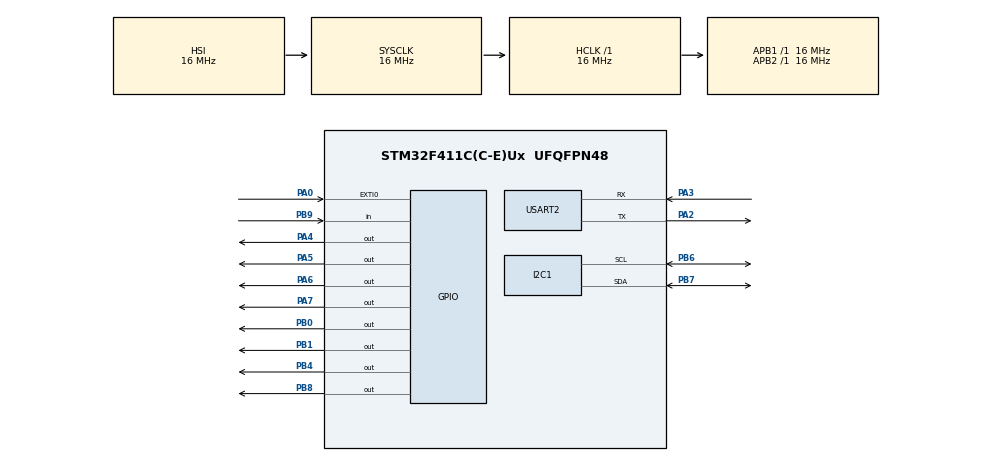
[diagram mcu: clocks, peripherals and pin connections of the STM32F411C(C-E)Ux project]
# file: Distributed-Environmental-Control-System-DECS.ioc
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IWDG.Prescaler=IWDG_PRESCALER_128
Mcu.Family=STM32F4
Mcu.Name=STM32F411C(C-E)Ux
Mcu.Package=UFQFPN48
NVIC.PriorityGroup=NVIC_PRIORITYGROUP_4
NVIC.USART2_IRQn=true\:0\:0\:false\:false\:true\:true\:true\:true
PA0-WKUP.Signal=GPXTI0
PA2.Mode=Asynchronous
PA2.Signal=USART2_TX
PA3.Mode=Asynchronous
PA3.Signal=USART2_RX
PA4.Signal=GPIO_Output
PA5.Signal=GPIO_Output
PA6.Signal=GPIO_Output
PA7.Signal=GPIO_Output
PB0.Signal=GPIO_Output
PB1.Signal=GPIO_Output
PB4.Signal=GPIO_Output
PB6.GPIO_Mode=GPIO_MODE_AF_OD
PB6.GPIO_Pu=GPIO_PULLUP
PB6.Mode=I2C
PB6.Signal=I2C1_SCL
PB7.GPIO_Pu=GPIO_PULLUP
PB7.Mode=I2C
PB7.Signal=I2C1_SDA
PB8.GPIO_Speed=GPIO_SPEED_FREQ_HIGH
PB8.Signal=GPIO_Output
PB9.Signal=GPIO_Input
ProjectManager.HeapSize=0x200
ProjectManager.StackSize=0x400
ProjectManager.TargetToolchain=STM32CubeIDE
RCC.AHBFreq_Value=16000000
RCC.APB1Freq_Value=16000000
RCC.APB2Freq_Value=16000000
RCC.CortexFreq_Value=16000000
RCC.HSE_VALUE=25000000
RCC.HSI_VALUE=16000000
RCC.LSE_VALUE=32768
RCC.SYSCLKFreq_VALUE=16000000
RCC.VCOOutputFreq_Value=192000000
USART2.VirtualMode=VM_ASYNC
VP_IWDG_VS_IWDG.Mode=IWDG_Activate
board=custom

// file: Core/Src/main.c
/* USER CODE BEGIN Header */
/**
  ******************************************************************************
  * @file           : main.c
  * @brief          : Main program body
  ******************************************************************************
  * @attention
  *
  * Copyright (c) 2025 STMicroelectronics.
  * All rights reserved.
  *
  * This software is licensed under terms that can be found in the LICENSE file
  * in the root directory of this software component.
  * If no LICENSE file comes with this software, it is provided AS-IS.
  *
  ******************************************************************************
  */
/* USER CODE END Header */
#include "main.h"
/* USER CODE BEGIN Includes */
#include "ssd1306.h"
#include "keypad.h"
#include "menu.h"
#include "node_controller.h"
#include "plant_profiles.h"
#include "uart_comm.h"
/* USER CODE END Includes */

I2C_HandleTypeDef hi2c1;

IWDG_HandleTypeDef hiwdg;

UART_HandleTypeDef huart2;

/* USER CODE BEGIN PV */

volatile uint32_t stack_canary = 0xDEADBEEF;

/* USER CODE END PV */

void SystemClock_Config(void);
static void MX_GPIO_Init(void);
static void MX_USART2_UART_Init(void);
static void MX_I2C1_Init(void);
static void MX_IWDG_Init(void);

int main(void)
{

  /* MCU Configuration--------------------------------------------------------*/

  /* Reset of all peripherals, Initializes the Flash interface and the Systick. */
  HAL_Init();

  /* Configure the system clock */
  SystemClock_Config();

  /* Initialize all configured peripherals */
  MX_GPIO_Init();
  MX_USART2_UART_Init();
  MX_I2C1_Init();
//  MX_IWDG_Init();
  /* USER CODE BEGIN 2 */
  ssd1306_init();
  ssd1306_clear();
  ssd1306_update();
  keypad_init();
  menu_init();
  plant_profiles_init();
  node_controller_init(&hi2c1);
  uart_comm_init(&huart2);

  ssd1306_clear();
  ssd1306_print(10, 0, "WELCOME");
  ssd1306_draw_line(0, 10, 128, 10);
  ssd1306_print(20, 15, "MOHAMMAD REZA");
  ssd1306_print(35, 25, "SAFAEIAN");
  ssd1306_print(5, 40, "SMART GREENHOUSE PR.");
  ssd1306_print(5, 50, "PRESS ANY KEY!");
  ssd1306_update();
  while(!keypad_read());

  /* USER CODE END 2 */

  /* Infinite loop */
  /* USER CODE BEGIN WHILE */
  while (1)
  {
	    // Memory corruption detection (safety mechanism)
	    if (stack_canary != 0xDEADBEEF) {
	        NVIC_SystemReset();
	    }

	    static uint32_t last_sensor_read = 0;
	    static uint32_t last_display_update = 0;
	    static uint32_t last_uart_time = 0;
	    static uint16_t adc1[3] = {0};
	    static uint16_t adc2[3] = {0};
	    uint32_t current_time = HAL_GetTick();

	    // Read keypad
	    uint8_t current_key = keypad_read();

	    // Process menu
	    menu_process_key(current_key);

	    // Handle manual control commands
	    if (menu_is_manual_mode()) {
	        uint8_t manual_key = menu_get_last_manual_key();
	        if (manual_key >= 1 && manual_key <= 8) {
	        	uint8_t node = (manual_key - 1) / 4;
	        	uint8_t actuator = ((manual_key - 1) % 4);
	        	uint8_t command = 0x01 + actuator;  // 0x01=pump, 0x02=fan, 0x03=light1, 0x04=light2
	        	node_controller_send_manual_command(node, command);
	            menu_clear_manual_key();
	        }
	    }

	    // Read sensors every 500ms
	    if (current_time - last_sensor_read >= 1500) {
	        node_controller_read_sensors(0, adc1);
	        HAL_Delay(100);
	        node_controller_read_sensors(1, adc2);
	        last_sensor_read = current_time;
	    }

	    // Run automatic control
	    if (!menu_is_manual_mode()) {
	        node_controller_update(adc1, adc2);
	    }

	    // Update display every 250ms
	    if (current_time - last_display_update >= 500) {
	        menu_display(adc1, adc2);
	        last_display_update = current_time;
	    }

	    // Send UART data every 1000ms
	    if (current_time - last_uart_time >= 2000) {
	        uart_comm_send_status(adc1, adc2);
	        last_uart_time = current_time;
	    }

//	    HAL_IWDG_Refresh(&hiwdg);
	    HAL_Delay(50);
    /* USER CODE END WHILE */

	      }
}

void SystemClock_Config(void)
{
  RCC_OscInitTypeDef RCC_OscInitStruct = {0};
  RCC_ClkInitTypeDef RCC_ClkInitStruct = {0};

  /** Configure the main internal regulator output voltage
  */
  __HAL_RCC_PWR_CLK_ENABLE();
  __HAL_PWR_VOLTAGESCALING_CONFIG(PWR_REGULATOR_VOLTAGE_SCALE1);

  /** Initializes the RCC Oscillators according to the specified parameters
  * in the RCC_OscInitTypeDef structure.
  */
  RCC_OscInitStruct.OscillatorType = RCC_OSCILLATORTYPE_HSI|RCC_OSCILLATORTYPE_LSI;
  RCC_OscInitStruct.HSIState = RCC_HSI_ON;
  RCC_OscInitStruct.HSICalibrationValue = RCC_HSICALIBRATION_DEFAULT;
  RCC_OscInitStruct.LSIState = RCC_LSI_ON;
  RCC_OscInitStruct.PLL.PLLState = RCC_PLL_NONE;
  if (HAL_RCC_OscConfig(&RCC_OscInitStruct) != HAL_OK)
  {
    Error_Handler();
  }

  /** Initializes the CPU, AHB and APB buses clocks
  */
  RCC_ClkInitStruct.ClockType = RCC_CLOCKTYPE_HCLK|RCC_CLOCKTYPE_SYSCLK
                              |RCC_CLOCKTYPE_PCLK1|RCC_CLOCKTYPE_PCLK2;
  RCC_ClkInitStruct.SYSCLKSource = RCC_SYSCLKSOURCE_HSI;
  RCC_ClkInitStruct.AHBCLKDivider = RCC_SYSCLK_DIV1;
  RCC_ClkInitStruct.APB1CLKDivider = RCC_HCLK_DIV1;
  RCC_ClkInitStruct.APB2CLKDivider = RCC_HCLK_DIV1;

  if (HAL_RCC_ClockConfig(&RCC_ClkInitStruct, FLASH_LATENCY_0) != HAL_OK)
  {
    Error_Handler();
  }
}

static void MX_I2C1_Init(void)
{

  hi2c1.Instance = I2C1;
  hi2c1.Init.ClockSpeed = 100000;
  hi2c1.Init.DutyCycle = I2C_DUTYCYCLE_2;
  hi2c1.Init.OwnAddress1 = 0;
  hi2c1.Init.AddressingMode = I2C_ADDRESSINGMODE_7BIT;
  hi2c1.Init.DualAddressMode = I2C_DUALADDRESS_DISABLE;
  hi2c1.Init.OwnAddress2 = 0;
  hi2c1.Init.GeneralCallMode = I2C_GENERALCALL_DISABLE;
  hi2c1.Init.NoStretchMode = I2C_NOSTRETCH_DISABLE;
  if (HAL_I2C_Init(&hi2c1) != HAL_OK)
  {
    Error_Handler();
  }

}

static void MX_IWDG_Init(void)
{

  hiwdg.Instance = IWDG;
  hiwdg.Init.Prescaler = IWDG_PRESCALER_128;
  hiwdg.Init.Reload = 4095;
  if (HAL_IWDG_Init(&hiwdg) != HAL_OK)
  {
    Error_Handler();
  }

}

static void MX_USART2_UART_Init(void)
{

  huart2.Instance = USART2;
  huart2.Init.BaudRate = 115200;
  huart2.Init.WordLength = UART_WORDLENGTH_8B;
  huart2.Init.StopBits = UART_STOPBITS_1;
  huart2.Init.Parity = UART_PARITY_NONE;
  huart2.Init.Mode = UART_MODE_TX_RX;
  huart2.Init.HwFlowCtl = UART_HWCONTROL_NONE;
  huart2.Init.OverSampling = UART_OVERSAMPLING_16;
  if (HAL_UART_Init(&huart2) != HAL_OK)
  {
    Error_Handler();
  }

}

static void MX_GPIO_Init(void)
{
  GPIO_InitTypeDef GPIO_InitStruct = {0};

  /* GPIO Ports Clock Enable */
  __HAL_RCC_GPIOA_CLK_ENABLE();
  __HAL_RCC_GPIOB_CLK_ENABLE();

  /*Configure GPIO pin Output Level */
  HAL_GPIO_WritePin(GPIOA, GPIO_PIN_4|GPIO_PIN_5|GPIO_PIN_6|GPIO_PIN_7, GPIO_PIN_RESET);

  /*Configure GPIO pin Output Level */
  HAL_GPIO_WritePin(GPIOB, GPIO_PIN_0|GPIO_PIN_1|GPIO_PIN_4|GPIO_PIN_8, GPIO_PIN_RESET);

  /*Configure GPIO pin : PA0 */
  GPIO_InitStruct.Pin = GPIO_PIN_0;
  GPIO_InitStruct.Mode = GPIO_MODE_IT_RISING;
  GPIO_InitStruct.Pull = GPIO_NOPULL;
  HAL_GPIO_Init(GPIOA, &GPIO_InitStruct);

  /*Configure GPIO pins : PA4 PA5 PA6 PA7 */
  GPIO_InitStruct.Pin = GPIO_PIN_4|GPIO_PIN_5|GPIO_PIN_6|GPIO_PIN_7;
  GPIO_InitStruct.Mode = GPIO_MODE_OUTPUT_PP;
  GPIO_InitStruct.Pull = GPIO_NOPULL;
  GPIO_InitStruct.Speed = GPIO_SPEED_FREQ_LOW;
  HAL_GPIO_Init(GPIOA, &GPIO_InitStruct);

  /*Configure GPIO pins : PB0 PB1 PB4 */
  GPIO_InitStruct.Pin = GPIO_PIN_0|GPIO_PIN_1|GPIO_PIN_4;
  GPIO_InitStruct.Mode = GPIO_MODE_OUTPUT_PP;
  GPIO_InitStruct.Pull = GPIO_NOPULL;
  GPIO_InitStruct.Speed = GPIO_SPEED_FREQ_LOW;
  HAL_GPIO_Init(GPIOB, &GPIO_InitStruct);

  /*Configure GPIO pin : PB8 */
  GPIO_InitStruct.Pin = GPIO_PIN_8;
  GPIO_InitStruct.Mode = GPIO_MODE_OUTPUT_PP;
  GPIO_InitStruct.Pull = GPIO_NOPULL;
  GPIO_InitStruct.Speed = GPIO_SPEED_FREQ_HIGH;
  HAL_GPIO_Init(GPIOB, &GPIO_InitStruct);

  /*Configure GPIO pin : PB9 */
  GPIO_InitStruct.Pin = GPIO_PIN_9;
  GPIO_InitStruct.Mode = GPIO_MODE_INPUT;
  GPIO_InitStruct.Pull = GPIO_NOPULL;
  HAL_GPIO_Init(GPIOB, &GPIO_InitStruct);

}

void Error_Handler(void)
{
  __disable_irq();
  while (1)
  {
  }
}
